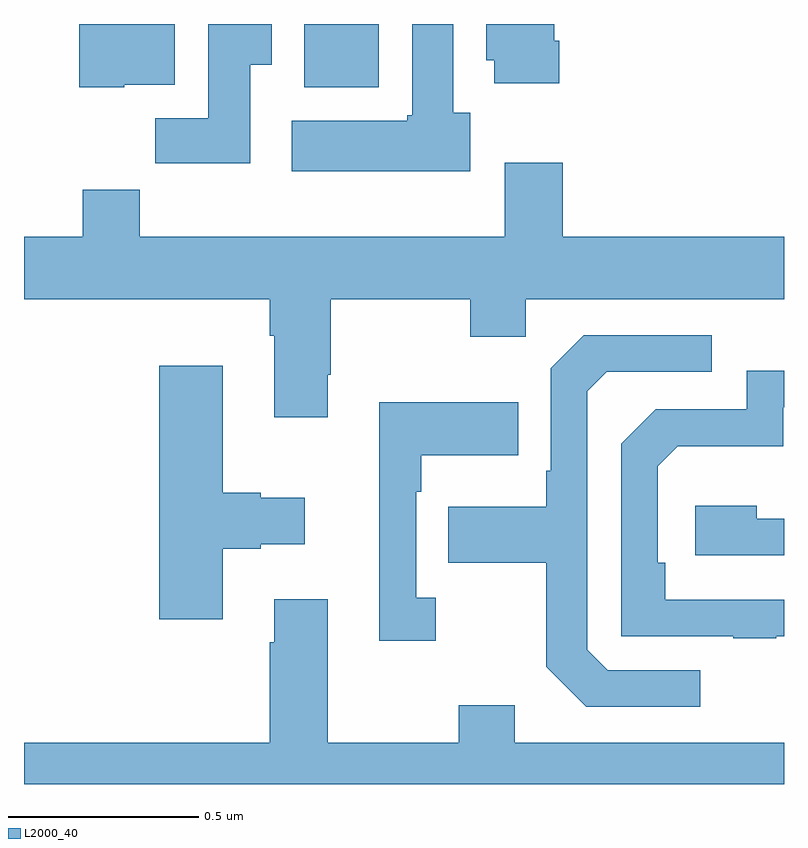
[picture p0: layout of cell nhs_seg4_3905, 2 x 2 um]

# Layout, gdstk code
import gdstk
lib = gdstk.Library(unit=1e-6, precision=1e-09)
def R(c, l, rs):  # rectangles x0, y0, x1, y1
    for r in rs: c.add(gdstk.rectangle(r[:2], r[2:], *l))
def P(c, l, *ps):  # polygons
    for p in ps: c.add(gdstk.Polygon(p, *l))
L2000_40 = (2000, 40)

nhs_seg4_3905 = lib.new_cell('nhs_seg4_3905')
R(nhs_seg4_3905, L2000_40, [(159.737,774.734,159.933,774.9)])
P(nhs_seg4_3905, L2000_40, [(160.174,774.666),(160.129,774.666),(160.129,774.9),(160.022,774.9),(160.022,774.66),(160.009,774.66),(160.009,774.646),(159.705,774.646),(159.705,774.512),(160.174,774.512)],
  [(159.595,774.793),(159.652,774.793),(159.652,774.9),(159.485,774.9),(159.485,774.652),(159.346,774.652),(159.346,774.534),(159.595,774.534)],
  [(159.264,774.74),(159.397,774.74),(159.397,774.9),(159.146,774.9),(159.146,774.734),(159.264,774.734)],
  [(160.409,774.856),(160.396,774.856),(160.396,774.9),(160.217,774.9),(160.217,774.804),(160.238,774.804),(160.238,774.744),(160.409,774.744)],
  [(159.799,773.977),(159.807,773.977),(159.807,774.176),(160.174,774.176),(160.174,774.077),(160.32,774.077),(160.32,774.176),(161,774.176),(161,774.34),(160.418,774.34),(160.418,774.535),(160.265,774.535),(160.265,774.34),(159.305,774.34),(159.305,774.464),(159.154,774.464),(159.154,774.34),(159,774.34),(159,774.176),(159.647,774.176),(159.647,774.08),(159.659,774.08),(159.659,773.865),(159.799,773.865)],
  [(160.78,773.199),(160.536,773.199),(160.482,773.253),(160.482,773.934),(160.533,773.985),(160.81,773.985),(160.81,774.081),(160.473,774.081),(160.386,773.994),(160.386,773.725),(160.374,773.725),(160.374,773.629),(160.117,773.629),(160.117,773.482),(160.374,773.482),(160.374,773.209),(160.479,773.103),(160.78,773.103)],
  [(159.523,773.519),(159.623,773.519),(159.623,773.531),(159.739,773.531),(159.739,773.653),(159.623,773.653),(159.623,773.666),(159.523,773.666),(159.523,774.001),(159.356,774.001),(159.356,773.334),(159.523,773.334)],
  [(160.979,773.289),(161,773.289),(161,773.385),(160.688,773.385),(160.688,773.482),(160.668,773.482),(160.668,773.736),(160.721,773.789),(160.998,773.789),(160.998,773.892),(161,773.892),(161,773.988),(160.902,773.988),(160.902,773.886),(160.662,773.886),(160.572,773.796),(160.572,773.289),(160.867,773.289),(160.867,773.284),(160.979,773.284)],
  [(160.084,773.39),(160.032,773.39),(160.032,773.669),(160.045,773.669),(160.045,773.765),(160.301,773.765),(160.301,773.905),(159.935,773.905),(159.935,773.277),(160.084,773.277)],
  [(161,773.598),(160.928,773.598),(160.928,773.632),(160.767,773.632),(160.767,773.502),(161,773.502)],
  [(159.659,773.386),(159.659,773.273),(159.647,773.273),(159.647,773.008),(159,773.008),(159,772.9),(161,772.9),(161,773.008),(160.291,773.008),(160.291,773.107),(160.144,773.107),(160.144,773.008),(159.799,773.008),(159.799,773.386)])

lib.write_gds('nhs_seg4_3905.gds')
